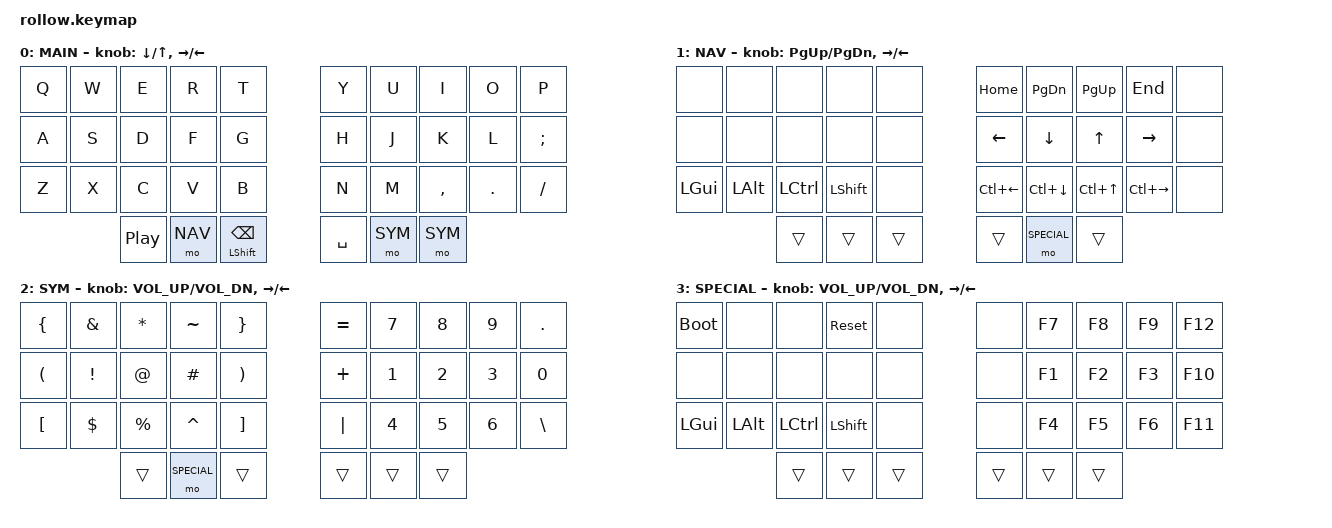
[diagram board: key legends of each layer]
/*
 * Copyright (c) 2020 The ZMK Contributors
 *
 * SPDX-License-Identifier: MIT
 */

#include <behaviors.dtsi>
#include <dt-bindings/zmk/keys.h>
#include <dt-bindings/zmk/bt.h>
#include <dt-bindings/zmk/ext_power.h>
#include <dt-bindings/zmk/outputs.h>

#define MAIN    0
#define NAV     1
#define SYM     2
#define SPECIAL 3


#define LAUNCHER (LG(TAB))
#define CTRL_TAB (LC(TAB))
#define C_S_TAB (LC(LS(TAB)))
#define SCRNSHOT (LG(LS(S)))

#define SPC_PREVIOUS (LC(LG(LEFT)))
#define S_PRV SPC_PREVIOUS

#define SPC_NEXT (LC(LG(RIGHT)))
#define S_NXT SPC_NEXT

&caps_word {
    continue-list = <UNDERSCORE MINUS BACKSPACE>;
};

&sk {
  quick-release;
};

 &mt { quick_tap_ms = <200>; };

 /{
  #include "36key_combos.dtsi"
  
  chosen {
    zmk,battery = &vbatt;
    zmk,matrix_transform = &five_column_transform;
  };

  vbatt: vbatt {
      compatible = "zmk,battery-nrf-vddh";
      label = "VBATT";
  };

//  conditional_layers {
//      compatible = "zmk,conditional-layers";
//      tri_layer {
//          if-layers = <NAV SYMBOLS>;
//          then-layer = <NUMBERS>;
//      };
//  };



  keymap {
      compatible = "zmk,keymap";

/* Default
 * -----------------------------------.                    .-----------------------------------
 * |   Q  |   W  |   E  |   R  |   T  |                    |   Y  |   U  |   I  |   O  |   P  |
 * +------+------+------+------+------|                    |------+------+------+------+------+
 * |   A  |   S  |   D  |   F  |   G  |                    |   H  |   J  |   K  |   L  |   ;  |
 * +------+------+------+------+------|                    |------+------+------+------+------+
 * |   Z  |   X  |   C  |   V  |   B  |-------.    .-------|   N  |   M  |   ,  |   .  |   /  |
 * -----------------------------------/       /     \      \-----------------------------------
 *                   |      |      | /       /       \      \  |      |      |
 *                   |      |      |/       /         \      \ |      |      |
 *                   '-------------''------'           '------''-------------'
 *
 *   Encoder Left: Up <-> Down
 *   Encoder Right: Left <-> Right
 */
                MAIN {
        bindings = <
            &kp Q      &kp W      &kp E       &kp R        &kp T                &kp Y     &kp U        &kp I           &kp O        &kp P
            &kp A      &kp S      &kp D       &kp F        &kp G                &kp H     &kp J        &kp K           &kp L        &kp SEMI      
            &kp Z      &kp X      &kp C       &kp V        &kp B                &kp N     &kp M        &kp COMMA       &kp DOT      &kp FSLH
                          &kp C_PLAY_PAUSE   &mo NAV    &mt LSHIFT BSPC     &kp SPACE &mo SYM  &mo SYM
            >;
                        sensor-bindings = <&inc_dec_kp DOWN UP &inc_dec_kp RIGHT LEFT>;
        };
                NAV {
                        bindings = <
          &none    &none       &none     &none      &none               &kp HOME     &kp PG_DN    &kp PG_UP  &kp END       &none
          &none    &none       &none     &none      &none               &kp LEFT     &kp DOWN     &kp UP     &kp RIGHT     &none
          &kp LGUI &kp LALT    &kp LCTRL &kp LSHIFT &none               &kp LC(LEFT) &kp LC(DOWN) &kp LC(UP) &kp LC(RIGHT) &none        
                                      &trans       &trans  &trans   &trans  &mo SPECIAL   &trans
                            >;

                            sensor-bindings = <&inc_dec_kp PG_UP PG_DN &inc_dec_kp RIGHT LEFT>;
                };
                SYM {
                        bindings = <
      &kp LBRC  &kp AMPS  &kp STAR   &kp TILDE  &kp RBRC                  &kp EQUAL  &kp N7 &kp N8 &kp N9 &kp DOT
      &kp LPAR  &kp EXCL  &kp AT     &kp HASH   &kp RPAR                  &kp PLUS   &kp N1 &kp N2 &kp N3 &kp N0
      &kp LBKT  &kp DLLR  &kp PRCNT  &kp CARET  &kp RBKT                  &kp PIPE   &kp N4 &kp N5 &kp N6 &kp BSLH 
                                  &trans       &mo SPECIAL     &trans    &trans &trans   &trans
                        >;
   
                        sensor-bindings = <&inc_dec_kp C_VOL_UP C_VOL_DN &inc_dec_kp RIGHT LEFT>;
                };

                SPECIAL {
                        bindings = <
//      &bootloader  &sys_reset   &none        &to   APT326 &to     BASE                   &out OUT_USB &out OUT_BLE &none        &sys_reset   &bootloader
//      &none        &kp   C_MUTE &kp C_VOL_DN &kp C_VOL_UP &to    APTHD                   &bt   BT_CLR &bt BT_SEL 0 &bt BT_SEL 1 &bt BT_SEL 2 &bt BT_SEL 3
//      &none        &kp     C_PP &kp C_BRI_DN &kp C_BRI_UP &to     GAME                   &none        &none        &none        &none        &none


                &bootloader  &none        &none        &sys_reset   &none                &none  &kp F7  &kp F8 &kp F9 &kp F12
                &none        &none        &none        &none        &none                &none  &kp F1  &kp F2 &kp F3 &kp F10
                &kp LGUI     &kp LALT     &kp LCTRL    &kp LSHIFT   &none                &none  &kp F4  &kp F5 &kp F6 &kp F11
                                             &trans       &trans       &trans    &trans  &trans       &trans
                        >;
   
                        sensor-bindings = <&inc_dec_kp C_VOL_UP C_VOL_DN &inc_dec_kp RIGHT LEFT>;
                };
        };
};
